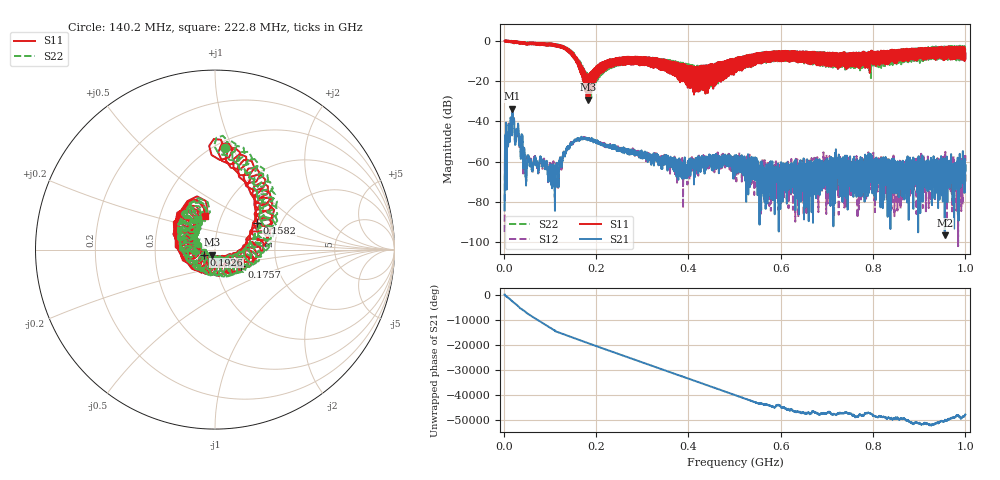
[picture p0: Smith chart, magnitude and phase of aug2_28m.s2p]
!Keysight Technologies N9923A: A.12.45
!Date: Saturday, 02 August 2025 19:17:11
!Timezone: (UTC+08:00) Kuala Lumpur, Singapore
!Model: N9923A
!Serial: MY61181427
!GPS Latitude:
!GPS Longitude:
!GPS TimeStamp: 0001-01-01 00:00:00Z
!GPS Seconds Since Last Read: 0
!CHECKSUM:0133479574
!Correction: S11(ON U)S21(ON U)S12(ON U)S22(ON U)
!S2P File: Measurements:S11,S21,S12,S22:
# Hz S DB R 50
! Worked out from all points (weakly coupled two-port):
!   4001 points, 2 MHz to 1 GHz, reference 50 ohm
!   highest |S21| = -33.76 dB at 18.97 MHz (marker M1); lowest = -96.6 dB at 955.3 MHz (marker M2)
!   lowest |S11| = -29.3 dB at 182.9 MHz (marker M3), VSWR 1.07, Z = 48.1 - j2.77 ohm
!   |S11| at or under -10 dB: 162.4 MHz to 223.5 MHz (61.03 MHz wide, 31.6 % of centre); 223.7 MHz to 225.1 MHz (1.367 MHz wide, 0.609 % of centre); 354.5 MHz to 483 MHz (128.5 MHz wide, 30.7 % of centre) (the widest 3 of 288)
!   |S22| runs from -29.9 to 0.1 dB; largest |S21 - S12| = 0.0024
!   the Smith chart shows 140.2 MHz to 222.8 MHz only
!   S11 on the Smith chart (normalised r, x): 140.2 MHz: 0.54, +0.93; 158.2 MHz: 1.52, +0.49; 175.7 MHz: 1.32, -0.26; 192.6 MHz: 0.88, -0.05; 222.8 MHz: 0.84, +0.33
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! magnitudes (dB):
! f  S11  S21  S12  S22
! 2 MHz  -0.1  -84.1  -95.0  -0.1
! 7.489 MHz  -0.5  -47.8  -47.7  -0.7
! 18.97 MHz  -0.9  -33.8  -33.9  -1.0
! 46.91 MHz  -0.8  -61.1  -62.5  -0.9
! 107.3 MHz  -1.5  -61.8  -60.8  -1.5
! 140.2 MHz  -4.8  -53.2  -52.9  -4.9
! 158.2 MHz  -11.1  -49.5  -48.7  -10.4
! 168.4 MHz  -14.9  -48.8  -47.8  -15.5
! 175.7 MHz  -15.2  -48.1  -47.9  -14.5
! 182.9 MHz  -29.3  -48.4  -48.9  -23.8
! 192.6 MHz  -23.5  -49.0  -49.2  -19.8
! 222.8 MHz  -14.1  -52.4  -52.1  -14.2
! 334.8 MHz  -11.8  -57.6  -57.1  -9.3
! 417.2 MHz  -24.8  -59.7  -61.2  -15.4
! 501 MHz  -12.1  -61.1  -63.4  -13.7
! 566.4 MHz  -8.3  -78.5  -76.2  -8.7
! 667.4 MHz  -6.3  -77.2  -69.6  -10.5
! 796.2 MHz  -9.6  -60.5  -62.9  -6.0
! 833.8 MHz  -6.3  -63.6  -60.2  -8.0
! 955.3 MHz  -3.8  -96.6  -57.0  -8.9
! 989.3 MHz  -6.3  -72.8  -62.8  -6.3
! 1 GHz  -6.2  -64.6  -56.8  -2.7
